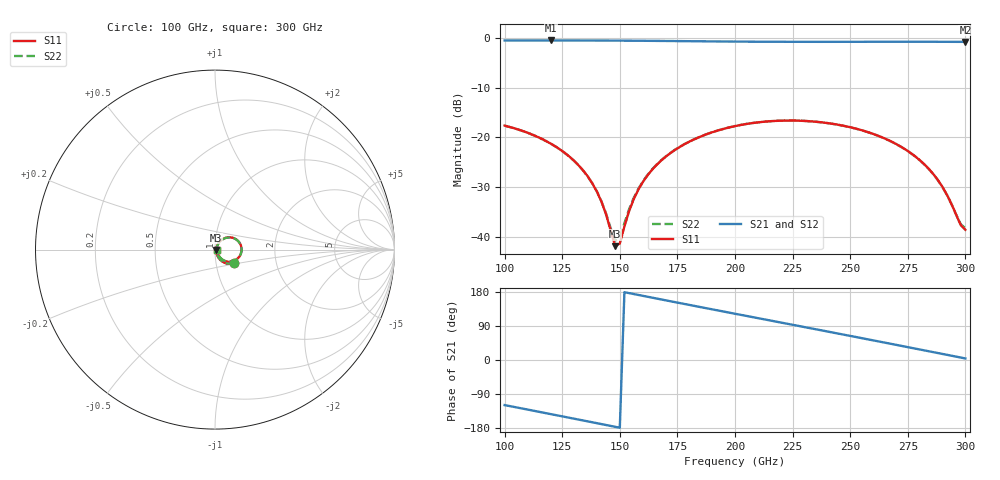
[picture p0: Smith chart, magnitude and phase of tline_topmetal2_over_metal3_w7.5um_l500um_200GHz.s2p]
#  GHZ S DB R 50
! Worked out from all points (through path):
!   101 points, 100 GHz to 300 GHz, reference 50 ohm
!   highest |S21| = -0.44 dB at 120 GHz (marker M1); lowest = -0.7 dB at 300 GHz (marker M2)
!   group delay of S21, straight-line fit = 3.28 ps
!   lowest |S11| = -41.9 dB at 148 GHz (marker M3), VSWR 1.02, Z = 50.8 - j0.28 ohm
!   |S11| at or under -10 dB: start of sweep to end of sweep
!   |S22| runs from -40.8 to -16.6 dB; largest |S21 - S12| = 1.1e-14
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100  -17.62 -34.8  -0.45 -119.0  -0.45 -119.0  -17.63 -34.4
120  -21.24 -55.5  -0.44 -142.7  -0.44 -142.7  -21.25 -54.8
134  -26.61 -67.0  -0.45 -159.5  -0.45 -159.5  -26.63 -65.5
138  -29.21 -68.2  -0.45 -164.3  -0.45 -164.3  -29.21 -66.2
142  -32.90 -65.8  -0.46 -169.1  -0.46 -169.1  -32.84 -62.7
148  -41.93 -20.1  -0.47 -176.3  -0.47 -176.3  -40.80 -16.0
150  -41.38 22.1  -0.48 -178.7  -0.48 -178.7  -40.20 20.4
154  -34.90 55.9  -0.49 176.5  -0.49 176.5  -34.51 52.8
158  -30.57 61.5  -0.50 171.7  -0.50 171.7  -30.39 59.4
162  -27.67 61.4  -0.52 167.0  -0.52 167.0  -27.56 59.8
168  -24.64 57.8  -0.54 159.8  -0.54 159.8  -24.58 56.7
182  -20.45 45.2  -0.60 143.2  -0.60 143.2  -20.42 44.5
200  -17.72 26.3  -0.67 122.1  -0.67 122.1  -17.71 25.9
218  -16.66 6.6  -0.71 101.1  -0.71 101.1  -16.65 6.4
234  -16.79 -10.9  -0.72 82.4  -0.72 82.4  -16.79 -11.1
250  -17.94 -28.1  -0.72 63.6  -0.72 63.6  -17.95 -28.2
268  -20.86 -46.4  -0.71 42.3  -0.71 42.3  -20.88 -46.3
278  -23.74 -54.8  -0.71 30.4  -0.71 30.4  -23.77 -54.5
286  -27.34 -58.5  -0.71 20.8  -0.71 20.8  -27.39 -57.9
292  -31.56 -54.9  -0.72 13.6  -0.72 13.6  -31.61 -53.7
298  -37.69 -24.3  -0.73 6.5  -0.73 6.5  -37.53 -21.9
300  -38.64 0.7  -0.73 4.1  -0.73 4.1  -38.29 2.5
